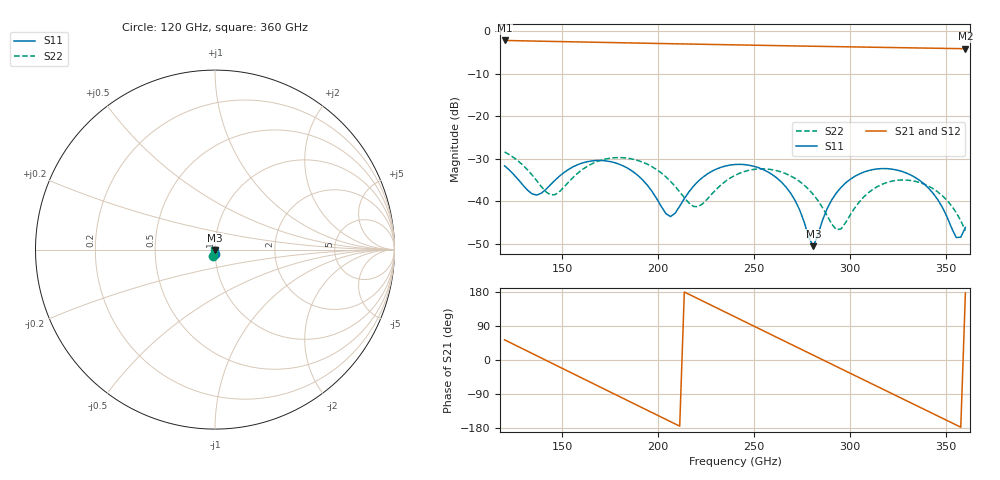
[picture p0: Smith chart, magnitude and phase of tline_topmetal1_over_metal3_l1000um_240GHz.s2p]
#  GHZ S DB R 50
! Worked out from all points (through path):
!   101 points, 120 GHz to 360 GHz, reference 50 ohm
!   highest |S21| = -2.18 dB at 120 GHz (marker M1); lowest = -4.1 dB at 360 GHz (marker M2)
!   group delay of S21, straight-line fit = 6.9 ps
!   lowest |S11| = -50.5 dB at 280.8 GHz (marker M3), VSWR 1.01, Z = 50 - j0.295 ohm
!   |S11| at or under -10 dB: start of sweep to end of sweep
!   |S22| runs from -46.9 to -28.4 dB; largest |S21 - S12| = 1.1e-13
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120  -31.63 -93.5  -2.18 53.2  -2.18 53.2  -28.38 -105.0
134.4  -38.25 -76.9  -2.31 17.1  -2.31 17.1  -33.83 -120.9
144  -36.03 -43.6  -2.40 -6.9  -2.40 -6.9  -38.47 -96.0
160.8  -30.93 -56.2  -2.55 -48.9  -2.55 -48.9  -32.41 -67.1
180  -31.31 -91.8  -2.71 -96.9  -2.71 -96.9  -29.69 -99.3
192  -34.99 -110.5  -2.82 -126.8  -2.82 -126.8  -30.79 -122.1
201.6  -41.18 -104.8  -2.90 -150.7  -2.90 -150.7  -33.31 -137.3
206.4  -43.57 -74.4  -2.94 -162.7  -2.94 -162.7  -35.27 -141.7
220.8  -35.27 -41.1  -3.06 161.5  -3.06 161.5  -41.23 -106.4
240  -31.32 -75.7  -3.22 113.8  -3.22 113.8  -33.86 -92.6
252  -32.03 -101.2  -3.31 84.0  -3.31 84.0  -32.36 -113.6
264  -35.37 -125.5  -3.41 54.3  -3.41 54.3  -33.06 -137.1
271.2  -39.69 -135.6  -3.47 36.4  -3.47 36.4  -34.56 -150.4
280.8  -50.51 -80.8  -3.54 12.6  -3.54 12.6  -38.38 -163.7
288  -41.69 -32.8  -3.60 -5.2  -3.60 -5.2  -43.37 -159.9
295.2  -36.72 -40.2  -3.65 -23.0  -3.65 -23.0  -46.46 -113.4
307.2  -33.09 -63.9  -3.74 -52.7  -3.74 -52.7  -38.89 -89.6
321.6  -32.40 -95.2  -3.84 -88.4  -3.84 -88.4  -35.25 -112.7
333.6  -34.29 -120.4  -3.93 -118.0  -3.93 -118.0  -35.25 -136.6
343.2  -38.09 -136.5  -4.00 -141.8  -4.00 -141.8  -37.01 -155.2
355.2  -48.48 -107.6  -4.08 -171.4  -4.08 -171.4  -42.62 -171.0
360  -46.10 -59.3  -4.12 176.8  -4.12 176.8  -46.87 -165.7
